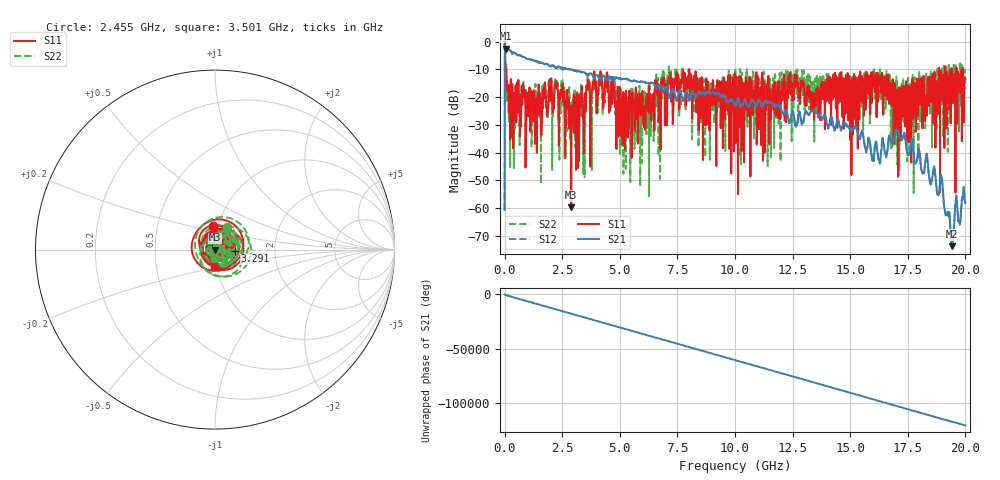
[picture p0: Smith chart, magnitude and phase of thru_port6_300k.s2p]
! MS46122B
! 2250307/22442219
! 2/13/2026 1:57:16 PM
! C:\USERS\SPARKY\DOCUMENTS\VNA_DATA\FEB13_2026\THRU_PORT6_300K.S2P
! CHANNEL.1
! TR.MEASUREMENT
! RAW.DATA
# GHZ S RI R 50.0
! FREQ.GHZ  S11RE  S11IM  S21RE  S21IM  S12RE  S12IM  S22RE  S22IM
!; PortSelection: Port_12
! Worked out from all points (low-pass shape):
!   10001 points, 1 MHz to 20 GHz, reference 50 ohm
!   highest |S21| = -2.53 dB at 45 MHz (marker M1); lowest = -73.7 dB at 19.42 GHz (marker M2)
!   |S21| within 3 dB of the highest: 18.96 MHz to 784.4 MHz (765.5 MHz wide, 191 % of centre); 798.4 MHz to 827.3 MHz (28.91 MHz wide, 3.56 % of centre) (the widest 2 of 3)
!   lowest |S11| = -59.7 dB at 2.893 GHz (marker M3), VSWR 1.00, Z = 50.1 - j0.0286 ohm
!   |S11| at or under -10 dB: 74.92 MHz to 8.008 GHz (7.934 GHz wide, 196 % of centre); 8.018 GHz to 18.85 GHz (10.83 GHz wide, 80.6 % of centre); 19.62 GHz to 19.87 GHz (253.9 MHz wide, 1.29 % of centre) (the widest 3 of 8)
!   |S22| runs from -55.7 to -0.1 dB; largest |S21 - S12| = 0.056
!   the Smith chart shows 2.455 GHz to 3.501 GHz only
!   S11 on the Smith chart (normalised r, x): 2.455 GHz: 0.95, +0.26; 3.291 GHz: 1.25, -0.02; 3.501 GHz: 0.97, -0.17
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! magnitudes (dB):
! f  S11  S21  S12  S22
! 1 MHz  0.4  -60.6  -60.6  -0.1
! 45 MHz  -8.4  -2.5  -2.9  -9.8
! 125 MHz  -16.5  -2.7  -2.7  -21.0
! 1.329 GHz  -23.9  -6.9  -6.8  -17.6
! 2.455 GHz  -17.5  -9.4  -9.3  -16.9
! 2.893 GHz  -59.7  -10.1  -10.1  -22.3
! 3.291 GHz  -19.0  -10.9  -10.8  -25.4
! 3.335 GHz  -18.0  -11.0  -11.0  -16.3
! 3.501 GHz  -21.0  -11.3  -11.2  -30.5
! 4.139 GHz  -13.7  -13.2  -13.2  -14.8
! 5.183 GHz  -19.3  -13.4  -13.4  -34.9
! 6.669 GHz  -18.0  -15.8  -15.8  -20.4
! 7.163 GHz  -14.6  -19.2  -19.1  -13.8
! 9.067 GHz  -16.8  -18.5  -18.3  -20.4
! 10 GHz  -12.7  -22.8  -22.9  -10.5
! 13.33 GHz  -18.2  -25.1  -24.9  -15.1
! 15.97 GHz  -11.3  -42.9  -43.0  -12.5
! 16.67 GHz  -12.8  -34.8  -34.9  -13.2
! 18.32 GHz  -24.4  -40.3  -40.6  -17.5
! 18.97 GHz  -16.5  -48.8  -48.9  -13.1
! 19.42 GHz  -9.9  -73.7  -73.1  -14.9
! 20 GHz  -13.5  -57.9  -58.4  -17.1
